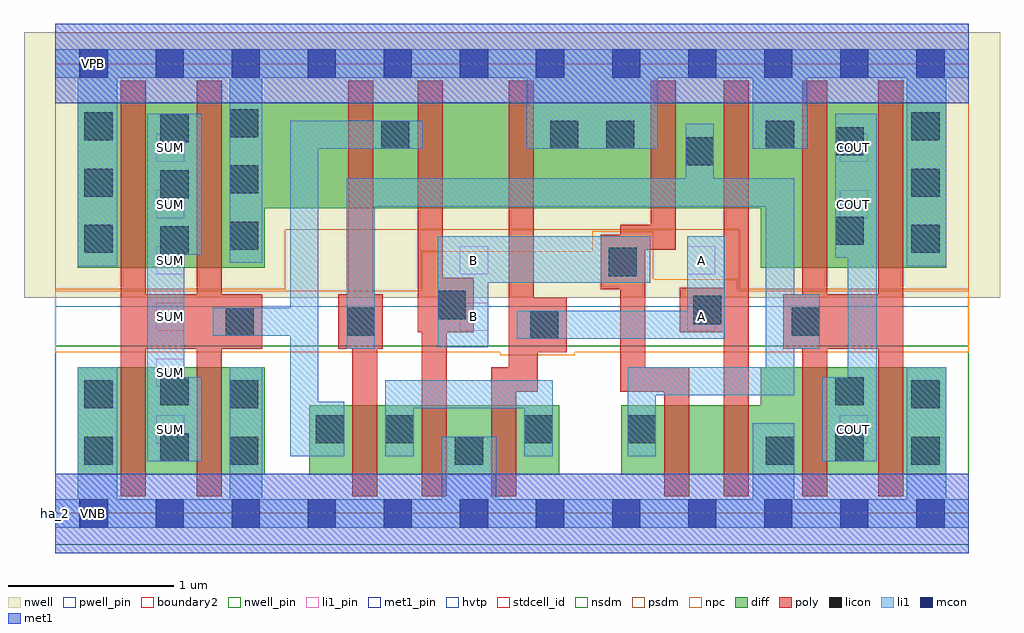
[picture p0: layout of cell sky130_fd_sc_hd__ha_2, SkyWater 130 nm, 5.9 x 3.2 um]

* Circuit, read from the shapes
.subckt sky130_fd_sc_hd__ha_2 A B COUT SUM VGND VNB VPB VPWR
XM1 SUM n1 VGND VNB sky130_fd_pr__nfet_01v8 w=0.65 l=0.15 m=2
XM2 n2 n3 n1 VNB sky130_fd_pr__nfet_01v8 w=0.42 l=0.15
XM3 VGND B n2 VNB sky130_fd_pr__nfet_01v8 w=0.42 l=0.15
XM4 n2 A VGND VNB sky130_fd_pr__nfet_01v8 w=0.42 l=0.15
XM5 n4 B n3 VNB sky130_fd_pr__nfet_01v8 w=0.42 l=0.15
XM6 VGND A n4 VNB sky130_fd_pr__nfet_01v8 w=0.42 l=0.15
XM7 COUT n3 VGND VNB sky130_fd_pr__nfet_01v8 w=0.65 l=0.15 m=2
XM8 SUM n1 VPWR VPB sky130_fd_pr__pfet_01v8_hvt w=1 l=0.15 m=2
XM9 n1 n3 VPWR VPB sky130_fd_pr__pfet_01v8_hvt w=0.64 l=0.15
XM10 n5 B n1 VPB sky130_fd_pr__pfet_01v8_hvt w=0.64 l=0.15
XM11 VPWR A n5 VPB sky130_fd_pr__pfet_01v8_hvt w=0.64 l=0.15
XM12 n3 B VPWR VPB sky130_fd_pr__pfet_01v8_hvt w=0.64 l=0.15
XM13 VPWR A n3 VPB sky130_fd_pr__pfet_01v8_hvt w=0.64 l=0.15
XM14 COUT n3 VPWR VPB sky130_fd_pr__pfet_01v8_hvt w=1 l=0.15 m=2
.ends

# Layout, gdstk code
import gdstk
lib = gdstk.Library(unit=1e-6, precision=1e-09)
def R(c, l, rs):  # rectangles x0, y0, x1, y1
    for r in rs: c.add(gdstk.rectangle(r[:2], r[2:], *l))
def A(c, l, x, y, w, h, nx, ny, dx, dy):  # array of equal rectangles
    R(c, l, [(x+i*dx, y+j*dy, x+i*dx+w, y+j*dy+h) for i in range(nx) for j in range(ny)])
def P(c, l, *ps):  # polygons
    for p in ps: c.add(gdstk.Polygon(p, *l))
nwell_pin = (64, 16)
nwell = (64, 20)
diff = (65, 20)
poly = (66, 20)
licon = (66, 44)
li1_pin = (67, 16)
li1 = (67, 20)
mcon = (67, 44)
met1_pin = (68, 16)
met1 = (68, 20)
hvtp = (78, 44)
stdcell_id = (81, 4)
nsdm = (93, 44)
psdm = (94, 20)
npc = (95, 20)
pwell_pin = (122, 16)
boundary2 = (236, 0)

sky130_fd_sc_hd__ha_2 = lib.new_cell('sky130_fd_sc_hd__ha_2')
R(sky130_fd_sc_hd__ha_2, nwell_pin, [(0.15,2.635,0.32,2.805)])
R(sky130_fd_sc_hd__ha_2, nwell, [(-0.19,1.305,5.71,2.91)])
R(sky130_fd_sc_hd__ha_2, diff, [(0.135,0.235,1.265,0.885), (1.535,0.235,3.045,0.655)])
P(sky130_fd_sc_hd__ha_2, diff, [(5.385,2.485),(0.135,2.485),(0.135,1.485),(1.265,1.485),(1.265,1.845),(4.265,1.845),(4.265,1.485),(5.385,1.485)],
  [(5.385,0.885),(4.265,0.885),(4.265,0.655),(3.42,0.655),(3.42,0.235),(5.385,0.235)])
P(sky130_fd_sc_hd__ha_2, poly, [(1.98,1.325),(1.92,1.325),(1.92,2.615),(1.77,2.615),(1.77,1.325),(1.71,1.325),(1.71,0.995),(1.795,0.995),(1.795,0.105),(1.945,0.105),(1.945,0.995),(1.98,0.995)],
  [(2.53,1.425),(2.34,1.425),(2.34,2.615),(2.19,2.615),(2.19,1.095),(2.215,1.095),(2.215,0.105),(2.365,0.105),(2.365,1.095),(2.53,1.095)],
  [(3.09,1.305),(2.89,1.305),(2.89,2.615),(2.74,2.615),(2.74,0.885),(2.635,0.885),(2.635,0.105),(2.785,0.105),(2.785,0.735),(2.915,0.735),(2.915,0.975),(3.09,0.975)],
  [(1.25,1.325),(1.005,1.325),(1.005,2.615),(0.855,2.615),(0.855,1.325),(0.545,1.325),(0.545,2.615),(0.395,2.615),(0.395,0.105),(0.545,0.105),(0.545,0.995),(0.855,0.995),(0.855,0.105),(1.005,0.105),(1.005,0.995),(1.25,0.995)],
  [(5.125,2.615),(4.975,2.615),(4.975,1.325),(4.665,1.325),(4.665,2.615),(4.515,2.615),(4.515,1.325),(4.4,1.325),(4.4,0.995),(4.515,0.995),(4.515,0.105),(4.665,0.105),(4.665,0.995),(4.975,0.995),(4.975,0.105),(5.125,0.105)],
  [(4.19,2.615),(4.04,2.615),(4.04,1.365),(3.775,1.365),(3.775,1.095),(4.04,1.095),(4.04,0.105),(4.19,0.105)],
  [(3.83,0.885),(3.565,0.885),(3.565,1.595),(3.75,1.595),(3.75,2.615),(3.6,2.615),(3.6,1.745),(3.415,1.745),(3.415,1.685),(3.295,1.685),(3.295,1.355),(3.415,1.355),(3.415,0.735),(3.68,0.735),(3.68,0.105),(3.83,0.105)])
A(sky130_fd_sc_hd__ha_2, licon, 0.635, 1.565, 0.17, 0.17, 1, 3, 0, 0.34)
A(sky130_fd_sc_hd__ha_2, licon, 0.175, 1.575, 0.17, 0.17, 1, 3, 0, 0.34)
A(sky130_fd_sc_hd__ha_2, licon, 5.175, 1.575, 0.17, 0.17, 1, 3, 0, 0.34)
A(sky130_fd_sc_hd__ha_2, licon, 1.055, 1.595, 0.17, 0.17, 1, 3, 0, 0.34)
R(sky130_fd_sc_hd__ha_2, licon, [(0.175,0.295,0.345,0.465), (1.055,0.295,1.225,0.465), (2.415,0.295,2.585,0.465), (4.295,0.295,4.465,0.465), (5.175,0.295,5.345,0.465), (0.635,0.315,0.805,0.485), (4.715,0.315,4.885,0.485), (1.575,0.425,1.745,0.595), (1.995,0.425,2.165,0.595), (2.835,0.425,3.005,0.595), (3.46,0.425,3.63,0.595), (0.175,0.635,0.345,0.805), (1.055,0.635,1.225,0.805), (5.175,0.635,5.345,0.805), (0.635,0.655,0.805,0.825), (4.715,0.655,4.885,0.825), (2.87,1.055,3.04,1.225), (1.03,1.075,1.2,1.245), (1.76,1.075,1.93,1.245), (4.45,1.075,4.62,1.245), (3.855,1.145,4.025,1.315), (2.31,1.175,2.48,1.345), (3.345,1.435,3.515,1.605), (4.715,1.625,4.885,1.795), (3.81,2.105,3.98,2.275), (4.715,2.165,4.885,2.335), (1.97,2.205,2.14,2.375), (2.99,2.205,3.16,2.375), (3.33,2.205,3.5,2.375), (4.295,2.205,4.465,2.375)])
A(sky130_fd_sc_hd__ha_2, li1_pin, 0.61, 0.425, 0.17, 0.17, 1, 6, 0, 0.34)
R(sky130_fd_sc_hd__ha_2, li1_pin, [(4.74,0.425,4.91,0.595), (2.445,1.105,2.615,1.275), (3.82,1.105,3.99,1.275), (2.445,1.445,2.615,1.615), (3.82,1.445,3.99,1.615), (4.74,1.785,4.91,1.955), (4.74,2.125,4.91,2.295)])
P(sky130_fd_sc_hd__ha_2, li1, [(3.595,1.675),(2.31,1.675),(2.31,1.005),(2.615,1.005),(2.615,1.395),(3.595,1.395)],
  [(5.52,2.805),(0,2.805),(0,2.635),(0.135,2.635),(0.135,1.495),(0.375,1.495),(0.375,2.635),(1.055,2.635),(1.055,1.515),(1.25,1.515),(1.25,2.635),(2.85,2.635),(2.85,2.205),(3.64,2.205),(3.64,2.635),(4.215,2.635),(4.215,2.205),(4.545,2.205),(4.545,2.635),(5.145,2.635),(5.145,1.495),(5.385,1.495),(5.385,2.635),(5.52,2.635)],
  [(4.965,2.415),(4.715,2.415),(4.715,1.545),(4.79,1.545),(4.79,0.825),(4.635,0.825),(4.635,0.315),(4.965,0.315)],
  [(4.62,1.325),(4.465,1.325),(4.465,2.025),(3.98,2.025),(3.98,2.355),(3.81,2.355),(3.81,2.025),(1.76,2.025),(1.76,0.995),(1.93,0.995),(1.93,1.855),(4.295,1.855),(4.295,0.885),(3.46,0.885),(3.46,0.345),(3.63,0.345),(3.63,0.715),(4.465,0.715),(4.465,0.995),(4.62,0.995)],
  [(4.045,1.675),(3.82,1.675),(3.82,1.225),(2.79,1.225),(2.79,1.055),(4.045,1.055)],
  [(2.22,2.375),(1.42,2.375),(1.42,1.245),(0.95,1.245),(0.95,1.075),(1.42,1.075),(1.42,0.345),(1.745,0.345),(1.745,0.675),(1.59,0.675),(1.59,2.205),(2.22,2.205)],
  [(0.885,0.825),(0.78,0.825),(0.78,1.565),(0.885,1.565),(0.885,2.415),(0.555,2.415),(0.555,0.315),(0.885,0.315)],
  [(5.52,0.085),(5.385,0.085),(5.385,0.885),(5.145,0.885),(5.145,0.085),(4.465,0.085),(4.465,0.545),(4.215,0.545),(4.215,0.085),(2.665,0.085),(2.665,0.465),(2.335,0.465),(2.335,0.085),(1.25,0.085),(1.25,0.885),(1.055,0.885),(1.055,0.085),(0.375,0.085),(0.375,0.885),(0.135,0.885),(0.135,0.085),(0,0.085),(0,-0.085),(5.52,-0.085)])
A(sky130_fd_sc_hd__ha_2, mcon, 0.145, -0.085, 0.17, 0.17, 12, 2, 0.46, 2.72)
R(sky130_fd_sc_hd__ha_2, met1_pin, [(0.15,-0.085,0.32,0.085), (0.15,2.635,0.32,2.805)])
R(sky130_fd_sc_hd__ha_2, hvtp, [(0,1.25,5.52,2.72)])
R(sky130_fd_sc_hd__ha_2, stdcell_id, [(0,0,5.52,2.72)])
R(sky130_fd_sc_hd__ha_2, nsdm, [(0,-0.19,5.52,1.015)])
P(sky130_fd_sc_hd__ha_2, psdm, [(5.52,2.91),(0,2.91),(0,1.355),(1.39,1.355),(1.39,1.715),(4.135,1.715),(4.135,1.355),(5.52,1.355)])
P(sky130_fd_sc_hd__ha_2, npc, [(5.52,1.345),(4.125,1.345),(4.125,1.415),(3.615,1.415),(3.615,1.705),(3.245,1.705),(3.245,1.585),(2.21,1.585),(2.21,1.345),(0,1.345),(0,0.975),(2.69,0.975),(2.69,0.955),(3.14,0.955),(3.14,0.975),(5.52,0.975)])
R(sky130_fd_sc_hd__ha_2, pwell_pin, [(0.15,-0.085,0.32,0.085)])
R(sky130_fd_sc_hd__ha_2, boundary2, [(0,0,5.52,2.72)])
sky130_fd_sc_hd__ha_2.add(gdstk.FlexPath([(0,2.72),(5.52,2.72)], 0.48, ends="flush", simple_path=True, layer=68, datatype=20))  # met1
sky130_fd_sc_hd__ha_2.add(gdstk.FlexPath([(0,0),(5.52,0)], 0.48, ends="flush", simple_path=True, layer=68, datatype=20))  # met1
sky130_fd_sc_hd__ha_2.add(gdstk.FlexPath([(2.92,0.345),(2.92,0.72),(2.08,0.72),(2.08,0.345)], 0.17, ends="flush", simple_path=True, layer=67, datatype=20))  # li1
sky130_fd_sc_hd__ha_2.add(gdstk.Label('VNB', (0.23,0), layer=64, texttype=59))
sky130_fd_sc_hd__ha_2.add(gdstk.Label('VPB', (0.23,2.72), layer=64, texttype=5))
sky130_fd_sc_hd__ha_2.add(gdstk.Label('VGND', (0.23,0), layer=68, texttype=5))
sky130_fd_sc_hd__ha_2.add(gdstk.Label('VPWR', (0.23,2.72), layer=68, texttype=5))
sky130_fd_sc_hd__ha_2.add(gdstk.Label('A', (3.905,1.19), layer=67, texttype=5))
sky130_fd_sc_hd__ha_2.add(gdstk.Label('COUT', (4.825,1.87), layer=67, texttype=5))
sky130_fd_sc_hd__ha_2.add(gdstk.Label('COUT', (4.825,0.51), layer=67, texttype=5))
sky130_fd_sc_hd__ha_2.add(gdstk.Label('SUM', (0.695,0.51), layer=67, texttype=5))
sky130_fd_sc_hd__ha_2.add(gdstk.Label('SUM', (0.695,0.85), layer=67, texttype=5))
sky130_fd_sc_hd__ha_2.add(gdstk.Label('SUM', (0.695,1.19), layer=67, texttype=5))
sky130_fd_sc_hd__ha_2.add(gdstk.Label('SUM', (0.695,1.53), layer=67, texttype=5))
sky130_fd_sc_hd__ha_2.add(gdstk.Label('SUM', (0.695,1.87), layer=67, texttype=5))
sky130_fd_sc_hd__ha_2.add(gdstk.Label('SUM', (0.695,2.21), layer=67, texttype=5))
sky130_fd_sc_hd__ha_2.add(gdstk.Label('COUT', (4.825,2.21), layer=67, texttype=5))
sky130_fd_sc_hd__ha_2.add(gdstk.Label('A', (3.905,1.53), layer=67, texttype=5))
sky130_fd_sc_hd__ha_2.add(gdstk.Label('B', (2.53,1.53), layer=67, texttype=5))
sky130_fd_sc_hd__ha_2.add(gdstk.Label('B', (2.53,1.19), layer=67, texttype=5))
sky130_fd_sc_hd__ha_2.add(gdstk.Label('ha_2', (0,0), layer=83, texttype=44))

lib.write_gds('sky130_fd_sc_hd__ha_2.gds')
